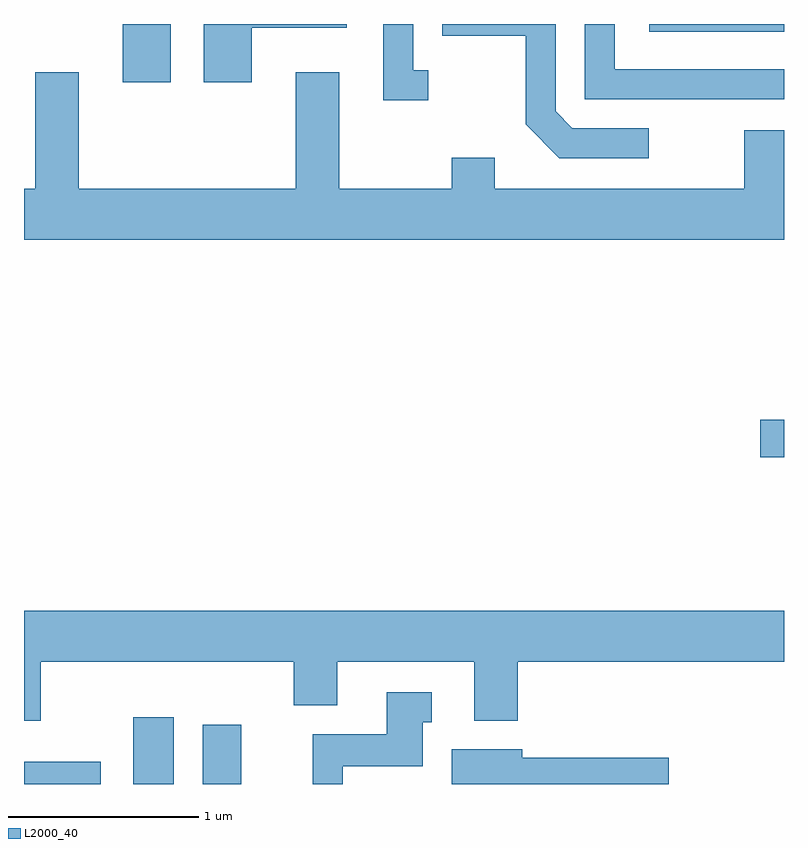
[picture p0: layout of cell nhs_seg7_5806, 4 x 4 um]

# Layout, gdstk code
import gdstk
lib = gdstk.Library(unit=1e-6, precision=1e-09)
def R(c, l, rs):  # rectangles x0, y0, x1, y1
    for r in rs: c.add(gdstk.rectangle(r[:2], r[2:], *l))
def P(c, l, *ps):  # polygons
    for p in ps: c.add(gdstk.Polygon(p, *l))
L2000_40 = (2000, 40)

nhs_seg7_5806 = lib.new_cell('nhs_seg7_5806')
R(nhs_seg7_5806, L2000_40, [(361.611,1800.252,362.014,1800.369), (362.186,1800.252,362.399,1800.604), (362.551,1800.252,362.754,1800.564), (365.486,1801.971,365.611,1802.169), (362.131,1803.946,362.384,1804.252), (364.901,1804.211,365.611,1804.252)])
P(nhs_seg7_5806, L2000_40, [(363.738,1804.009),(363.659,1804.009),(363.659,1804.252),(363.501,1804.252),(363.501,1803.851),(363.738,1803.851)],
  [(364.898,1803.704),(364.497,1803.704),(364.409,1803.792),(364.409,1804.252),(363.811,1804.252),(363.811,1804.191),(364.251,1804.191),(364.251,1803.724),(364.429,1803.546),(364.898,1803.546)],
  [(365.611,1804.014),(364.719,1804.014),(364.719,1804.252),(364.561,1804.252),(364.561,1803.856),(365.611,1803.856)],
  [(362.809,1804.231),(363.309,1804.231),(363.309,1804.252),(362.556,1804.252),(362.556,1803.946),(362.809,1803.946)],
  [(365.611,1803.694),(365.401,1803.694),(365.401,1803.384),(364.089,1803.384),(364.089,1803.549),(363.861,1803.549),(363.861,1803.384),(363.269,1803.384),(363.269,1803.999),(363.041,1803.999),(363.041,1803.384),(361.899,1803.384),(361.899,1803.999),(361.671,1803.999),(361.671,1803.384),(361.611,1803.384),(361.611,1803.116),(365.611,1803.116)],
  [(361.699,1800.896),(363.031,1800.896),(363.031,1800.666),(363.259,1800.666),(363.259,1800.896),(363.981,1800.896),(363.981,1800.586),(364.209,1800.586),(364.209,1800.896),(365.611,1800.896),(365.611,1801.164),(361.611,1801.164),(361.611,1800.586),(361.699,1800.586)],
  [(363.289,1800.346),(363.709,1800.346),(363.709,1800.576),(363.758,1800.576),(363.758,1800.734),(363.521,1800.734),(363.521,1800.514),(363.131,1800.514),(363.131,1800.252),(363.289,1800.252)],
  [(365.004,1800.389),(364.234,1800.389),(364.234,1800.434),(363.861,1800.434),(363.861,1800.252),(365.004,1800.252)])

lib.write_gds('nhs_seg7_5806.gds')
